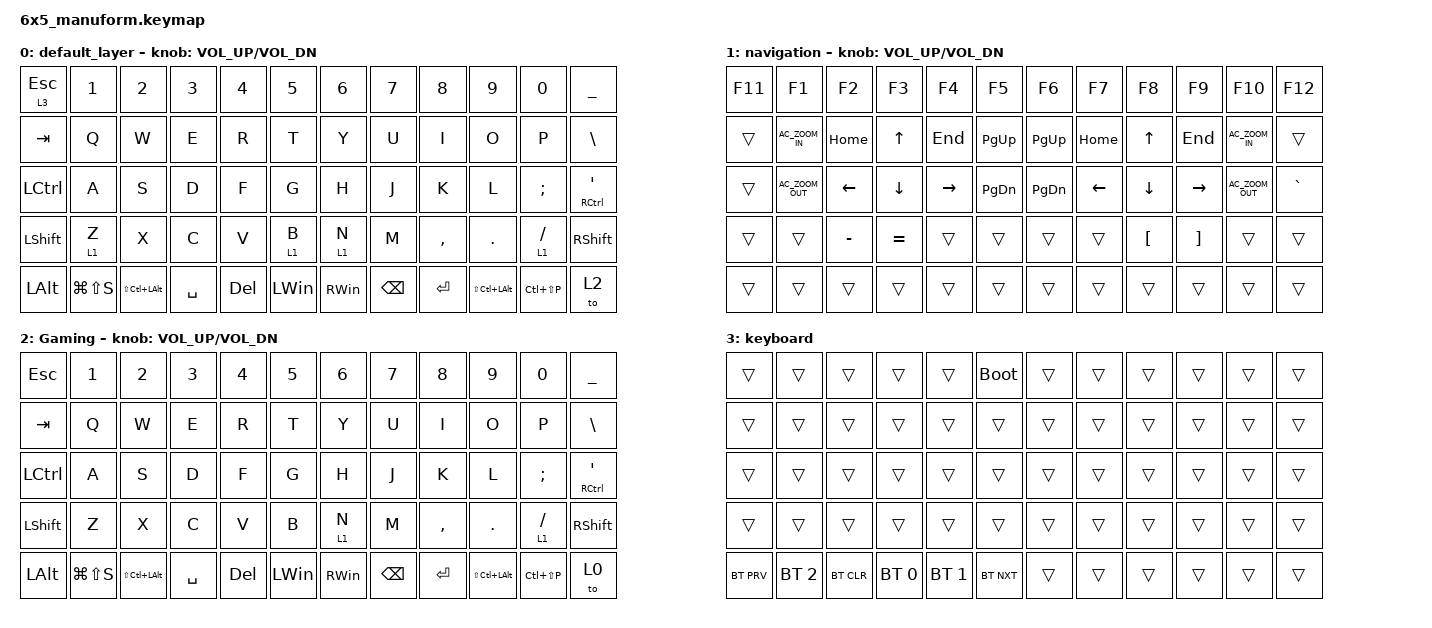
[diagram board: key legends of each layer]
/*
 * Copyright (c) 2020 The ZMK Contributors
 *
 * SPDX-License-Identifier: MIT
 */

#include <behaviors.dtsi>
#include <dt-bindings/zmk/keys.h>
#include <dt-bindings/zmk/bt.h>

/ {
    keymap {
        compatible = "zmk,keymap";

        default_layer {
            // ------------------------------------------------------------------------------------------------------------
            // |  ESC   |  1  |  2  |  3   |  4   |  5   |                    |  6   |  7    |  8    |  9   |   0   |   `   |
            // |  TAB   |  Q  |  W  |  E   |  R   |  T   |                    |  Y   |  U    |  I    |  O   |   P   |   -   |
            // |  CTRL  |  A  |  S  |  D   |  F   |  G   |                    |  H   |  J    |  K    |  L   |   ;   |   '   |
            // | SHIFT  |  Z  |  X  |  C   |  V   |  B   |                    |  N   |  M    |  ,    |  .   |   /   | SHIFT |
            // |    2   |  2  | f   | 6    | 4    | 1    |                    | 2    | 1     | w     | s    | n     |  a    |

            bindings = <
 &lt 3 ESC         &kp N1            &kp N2     &kp N3   &kp N4    &kp N5    &kp N6    &kp N7     &kp N8            &kp N9         &kp N0       &kp UNDER
   &kp TAB          &kp Q             &kp W      &kp E    &kp R     &kp T     &kp Y     &kp U      &kp I             &kp O          &kp P        &kp BSLH
 &kp LCTRL          &kp A             &kp S      &kp D    &kp F     &kp G     &kp H     &kp J      &kp K             &kp L       &kp SEMI  &mt RCTRL APOS
 &kp LSHFT        &lt 1 Z             &kp X      &kp C    &kp V   &lt 1 B   &lt 1 N     &kp M  &kp COMMA           &kp DOT    &lt 1 SLASH       &kp RSHFT
  &kp LALT  &kp LG(LS(S))  &kp LS(LC(LALT))  &kp SPACE  &kp DEL  &kp LWIN  &kp RWIN  &kp BSPC  &kp ENTER  &kp LS(LC(LALT))  &kp LC(LS(P))           &to 2
            >;

            sensor-bindings = <&inc_dec_kp C_VOL_UP C_VOL_DN>;
        };

        navigation {
            // ------------------------------------------------------------------------------------------------------------
            // | BTCLR | BT1 | BT2 |  BT3 |  BT4 |  BT5 |                   |      |       |       |      |       |       |
            // |  F1   |  F2 |  F3 |  F4  |  F5  |  F6  |                   |  F7  |  F8   |  F9   |  F10 |  F11  |  F12  |
            // |   `   |  !  |  @  |  #   |  $   |  %   |                   |  ^   |  &    |  *    |  (   |   )   |   ~   |
            // |       |     |     |      |      |      |                   |      |  _    |  +    |  {   |   }   |  "|"  |
            // |       |     |     |      |      |      |                   |      |       |       |      |       |       |

            bindings = <
 &kp F11             &kp F1     &kp F2     &kp F3     &kp F4     &kp F5     &kp F6    &kp F7    &kp F8     &kp F9            &kp F10    &kp F12
  &trans   &kp C_AC_ZOOM_IN   &kp HOME     &kp UP    &kp END  &kp PG_UP  &kp PG_UP  &kp HOME    &kp UP    &kp END   &kp C_AC_ZOOM_IN     &trans
  &trans  &kp C_AC_ZOOM_OUT   &kp LEFT   &kp DOWN  &kp RIGHT  &kp PG_DN  &kp PG_DN  &kp LEFT  &kp DOWN  &kp RIGHT  &kp C_AC_ZOOM_OUT  &kp GRAVE
  &trans             &trans  &kp MINUS  &kp EQUAL     &trans     &trans     &trans    &trans  &kp LBKT   &kp RBKT             &trans     &trans
  &trans             &trans     &trans     &trans     &trans     &trans     &trans    &trans    &trans     &trans             &trans     &trans
            >;

            sensor-bindings = <&inc_dec_kp C_VOL_UP C_VOL_DN>;
        };

        Gaming {
            // ------------------------------------------------------------------------------------------------------------
            // |       |     |     |      |      |      |                   |      |       |       |      |       |       |
            // |   `   |  1  |  2  |  3   |  4   |  5   |                   |  6   |   7   |   8   |  9   |   0   |       |
            // |   F1  |  F2 |  F3 |  F4  |  F5  |  F6  |                   |      |   <-  |   v   |  ^   |  ->   |       |
            // |   F7  |  F8 |  F9 |  F10 |  F11 |  F12 |		             |  +   |   -   |   =   |  [   |   ]   |   \   |
            // |     |     |      |      |      |        |                   |       |      |       |       |      |       |

            bindings = <
   &kp ESC         &kp N1            &kp N2     &kp N3   &kp N4    &kp N5    &kp N6    &kp N7     &kp N8            &kp N9         &kp N0       &kp UNDER
   &kp TAB          &kp Q             &kp W      &kp E    &kp R     &kp T     &kp Y     &kp U      &kp I             &kp O          &kp P        &kp BSLH
 &kp LCTRL          &kp A             &kp S      &kp D    &kp F     &kp G     &kp H     &kp J      &kp K             &kp L       &kp SEMI  &mt RCTRL APOS
 &kp LSHFT          &kp Z             &kp X      &kp C    &kp V     &kp B   &lt 1 N     &kp M  &kp COMMA           &kp DOT    &lt 1 SLASH       &kp RSHFT
  &kp LALT  &kp LG(LS(S))  &kp LS(LC(LALT))  &kp SPACE  &kp DEL  &kp LWIN  &kp RWIN  &kp BSPC  &kp ENTER  &kp LS(LC(LALT))  &kp LC(LS(P))           &to 0
            >;

            sensor-bindings = <&inc_dec_kp C_VOL_UP C_VOL_DN>;
        };

        keyboard {
            bindings = <
     &trans        &trans      &trans        &trans        &trans  &bootloader  &trans  &trans  &trans  &trans  &trans  &trans
     &trans        &trans      &trans        &trans        &trans       &trans  &trans  &trans  &trans  &trans  &trans  &trans
     &trans        &trans      &trans        &trans        &trans       &trans  &trans  &trans  &trans  &trans  &trans  &trans
     &trans        &trans      &trans        &trans        &trans       &trans  &trans  &trans  &trans  &trans  &trans  &trans
 &bt BT_PRV  &bt BT_SEL 2  &bt BT_CLR  &bt BT_SEL 0  &bt BT_SEL 1   &bt BT_NXT  &trans  &trans  &trans  &trans  &trans  &trans
            >;
        };
    };
};
